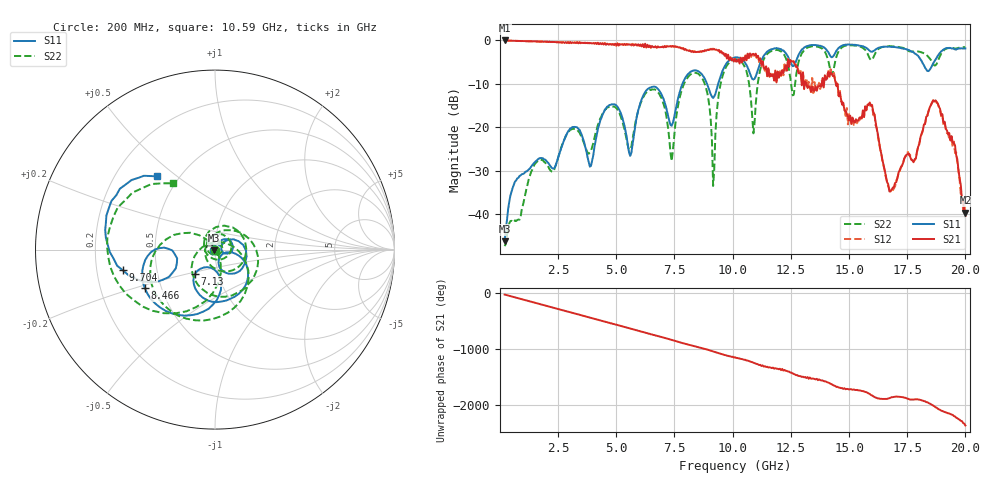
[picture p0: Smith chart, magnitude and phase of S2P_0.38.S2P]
!Agilent Technologies,E5071C,MY46108981,A.11.08
!Date: Sat Oct 19 16:28:03 2019
!Data & Calibration Information:
!Freq	S11:SOLT2(ON)	S21:SOLT2(ON)	S12:SOLT2(ON)	S22:SOLT2(ON)
!PortZ  Port1:50+j0  Port2:50+j0
!Above PortZ is port z conversion or system Z0 setting when saving the data.
!When reading, reference impedance value at option line is always used.
# Hz S RI R 50
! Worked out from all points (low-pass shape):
!   401 points, 200 MHz to 20 GHz, reference 50 ohm
!   highest |S21| = -0.07 dB at 200 MHz (marker M1); lowest = -39.6 dB at 20 GHz (marker M2)
!   |S21| within 3 dB of the highest: start of sweep to 9.554 GHz; 9.562 GHz to 9.613 GHz (51.51 MHz wide, 0.537 % of centre)
!   lowest |S11| = -46.2 dB at 200 MHz (marker M3), VSWR 1.01, Z = 49.6 - j0.299 ohm
!   |S11| at or under -10 dB: start of sweep to 7.844 GHz; 8.895 GHz to 9.381 GHz (486.1 MHz wide, 5.32 % of centre)
!   |S22| runs from -47.3 to -1.2 dB; largest |S21 - S12| = 0.079
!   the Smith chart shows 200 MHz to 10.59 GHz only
!   S11 on the Smith chart (normalised r, x): 200 MHz: 0.99, -0.01; 7.13 GHz: 0.77, -0.21; 8.466 GHz: 0.40, -0.22; 9.704 GHz: 0.31, -0.10; 10.59 GHz: 0.38, +0.43
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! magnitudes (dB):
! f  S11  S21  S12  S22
! 200 MHz  -46.2  -0.1  -0.1  -47.3
! 744.5 MHz  -31.7  -0.2  -0.2  -41.3
! 3.516 GHz  -21.7  -0.6  -0.6  -22.4
! 3.912 GHz  -28.8  -0.7  -0.7  -25.3
! 4.902 GHz  -14.7  -1.1  -1.1  -15.2
! 5.595 GHz  -26.6  -1.1  -0.9  -25.2
! 6.833 GHz  -11.5  -1.6  -1.6  -12.2
! 7.13 GHz  -15.2  -1.6  -1.6  -16.8
! 7.377 GHz  -19.7  -1.5  -1.5  -27.7
! 8.466 GHz  -7.0  -2.7  -2.6  -7.6
! 9.159 GHz  -13.3  -2.1  -1.9  -33.5
! 9.704 GHz  -5.6  -3.1  -3.2  -6.3
! 10.1 GHz  -4.0  -4.3  -4.6  -4.4
! 10.59 GHz  -5.7  -4.6  -4.3  -7.2
! 10.89 GHz  -9.0  -3.1  -3.5  -21.4
! 11.49 GHz  -2.6  -8.3  -8.4  -3.2
! 12.57 GHz  -6.0  -4.9  -4.9  -12.7
! 13.42 GHz  -1.1  -10.6  -8.7  -1.4
! 15.94 GHz  -2.6  -15.0  -15.0  -4.5
! 16.73 GHz  -1.5  -34.7  -34.2  -1.4
! 18.71 GHz  -4.5  -13.8  -13.7  -5.8
! 20 GHz  -1.9  -39.6  -40.6  -1.6
